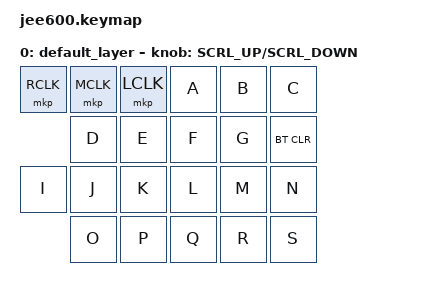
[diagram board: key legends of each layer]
#include <behaviors.dtsi>
#include <dt-bindings/zmk/keys.h>
#include <dt-bindings/zmk/bt.h>
#include <dt-bindings/zmk/outputs.h>

#include <behaviors/mouse_keys.dtsi>
#include <dt-bindings/zmk/mouse.h>

#define ZMK_MOUSE_SCRL_VAL 140

/ {
	//macros {};
	
	behaviors {
		
		//check out: https://github.com/JinRecords/zmk-config-Jin/blob/0b1e0ffeb5dc6cd7ae6410aac087a3aaecf1e21d/config/mouse.dtsi
		
		inc_dec_msc: behavior_sensor_rotate_mouse_wheel {
			compatible = "zmk,behavior-sensor-rotate-var";
			#sensor-binding-cells = <2>;
			bindings = <&msc>, <&msc>;
			tap-ms = <20>;
		};
	};
	
	sensors: sensors {
		compatible = "zmk,keymap-sensors";
		sensors = <&encoder_1>;
		triggers-per-rotation = <20>;
	};
	
	// Column schematic as seen from outside:
	//
	//    5 4 3 2 1 0
	//    ___________
	// 0 |v w x A B C     v: RMB
	// 1 |y D E F G H     w: MMB (button)
	// 2 |I J K L M N     x: LMB
	// 3 |z O P Q R S     y: MMB (wheel) (not implemented yet)
	//                    z: _
	
	keymap {
		compatible = "zmk,keymap";

		default_layer {
			// DEFAULT (0)
			//
            // ┏━━━━━━━━━┳━━━━━━━━━┳━━━━━━━━━┳━━━━━━━━━┳━━━━━━━━━┳━━━━━━━━━┓
            // ┃  RCLK   ┃  MCLK   ┃  LCLK   ┃    A    ┃    B    ┃    C    ┃
            // ┗━━━━━━━━━╋━━━━━━━━━╋━━━━━━━━━╋━━━━━━━━━╋━━━━━━━━━╋━━━━━━━━━┫
            //  not conn ┃    D    ┃    E    ┃    F    ┃    G    ┃  BT_CLR ┃
            // ┏━━━━━━━━━╋━━━━━━━━━╋━━━━━━━━━╋━━━━━━━━━╋━━━━━━━━━╋━━━━━━━━━┫
            // ┃    I    ┃    J    ┃    K    ┃    L    ┃    M    ┃    N    ┃
            // ┗━━━━━━━━━╋━━━━━━━━━╋━━━━━━━━━╋━━━━━━━━━╋━━━━━━━━━╋━━━━━━━━━┫
            //  not conn ┃    O    ┃    P    ┃    Q    ┃    R    ┃    S    ┃
            //           ┗━━━━━━━━━┻━━━━━━━━━┻━━━━━━━━━┻━━━━━━━━━┻━━━━━━━━━┛
			//o
            bindings = <
                &mkp RCLK      &mkp MCLK      &mkp LCLK      &kp A      &kp B      &kp C
                               &kp D          &kp E          &kp F      &kp G      &bt BT_CLR
                &kp I          &kp J          &kp K          &kp L      &kp M      &kp N
                               &kp O          &kp P          &kp Q      &kp R      &kp S
            >;
			sensor-bindings = <&inc_dec_msc SCRL_UP SCRL_DOWN>;
		};
	};
};

&msc {
	acceleration-exponent = <3>;
	time-to-max-speed-ms = <0>;
	delay-ms = <0>;
};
